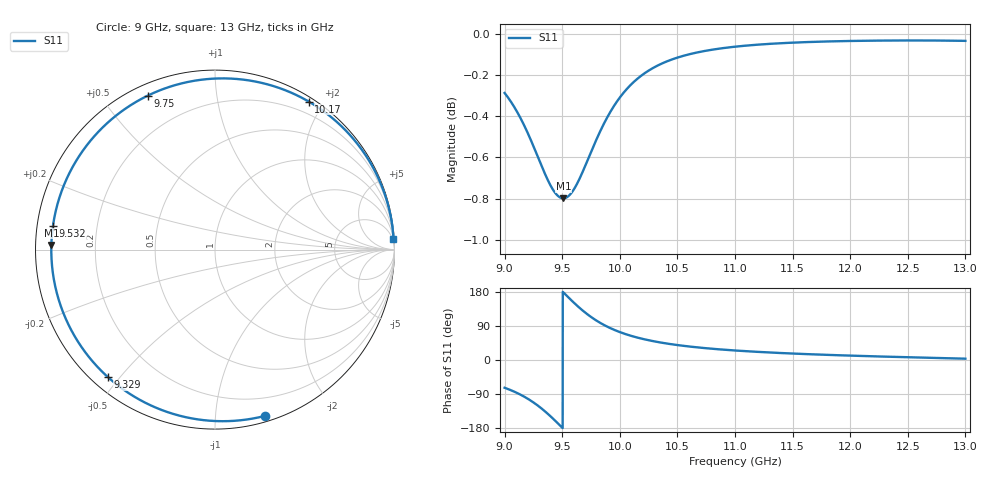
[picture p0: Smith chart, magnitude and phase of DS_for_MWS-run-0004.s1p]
! TOUCHSTONE file generated by CST DESIGN STUDIO
! Date and time: Tue Feb  4 18:20:16 2025
! Project name: C:\Work\MatlabApps\UnitCellOptimizationMatlab\CST\unitcell.cst
! Tree item: Tasks\Sweep1\SPara1\S-Parameters
! Header version: 2024
! Port assignment regex: !\s*Touchstone port\s*([0-9]+)\s*=\s*(CST MWS port|CST DES external port|CST DES block port)\s*(.+)\s* \(\"(.*)\"\)(\s*mode\s*([0-9]+))?.*
! Touchstone port assignment:
! Touchstone port 1 = CST DES external port 1 ("")
# GHz S MA R 50
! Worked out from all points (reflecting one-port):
!   4001 points, 9 GHz to 13 GHz, reference 50 ohm
!   lowest |S11| = -0.8 dB at 9.51 GHz (marker M1), VSWR 21.76, Z = 2.3 + j0.698 ohm
!   phase of S11 starts at -73 deg and turns -283 deg over the sweep
!   S11 on the Smith chart (normalised r, x): 9 GHz: 0.05, -1.34; 9.329 GHz: 0.05, -0.47; 9.532 GHz: 0.05, +0.07; 9.75 GHz: 0.05, +0.65; 10.17 GHz: 0.05, +1.82; 13 GHz: 2, +33
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9  0.9675 -73.2
9.087  0.9596 -84.0
9.19  0.9475 -100.2
9.262  0.9374 -114.5
9.329  0.9277 -130.0
9.375  0.9215 -142.0
9.423  0.9163 -155.5
9.462  0.9134 -167.1
9.5  0.9122 -178.6
9.51  0.9121 178.4
9.532  0.9124 171.7
9.586  0.9154 155.6
9.646  0.9216 138.8
9.697  0.9284 125.8
9.75  0.936 113.6
9.801  0.9432 103.3
9.858  0.9505 93.2
10  0.9651 73.7
10.082  0.9711 65.2
10.172  0.9762 57.6
10.321  0.9823 47.9
10.5  0.9869 39.4
10.722  0.9904 31.8
11  0.9929 25.1
11.5  0.9952 17.0
12  0.9961 11.5
12.5  0.9964 7.3
13  0.9962 3.5
